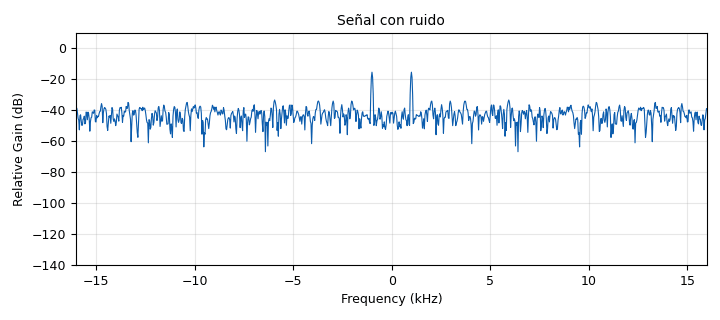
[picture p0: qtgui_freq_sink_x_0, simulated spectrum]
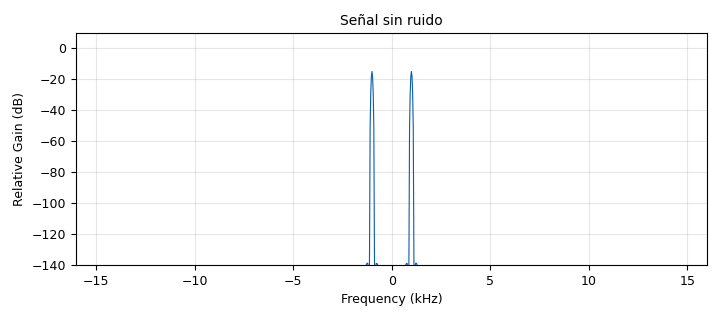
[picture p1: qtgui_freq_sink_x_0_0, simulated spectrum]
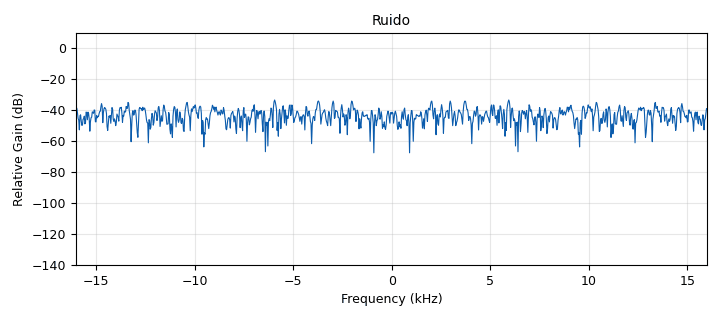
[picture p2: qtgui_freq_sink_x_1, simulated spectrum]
options:
  parameters:
    generate_options: qt_gui
    id: bloque_promedios
    output_language: python
    title: Practica_2
  states: {}

blocks:
- name: samp_rate
  id: variable
  parameters:
    value: '32000'
  states: {}
- name: Desviacion_estandar
  id: qtgui_number_sink
  parameters:
    graph_type: qtgui.NUM_GRAPH_HORIZ
    name: '"Desviacion estandar"'
    type: float
  states: {}
- name: Media
  id: qtgui_number_sink
  parameters:
    graph_type: qtgui.NUM_GRAPH_HORIZ
    name: '"Media"'
    type: float
  states: {}
- name: Media_cuadratica
  id: qtgui_number_sink
  parameters:
    graph_type: qtgui.NUM_GRAPH_HORIZ
    name: '"Media cuadratica"'
    type: float
  states: {}
- name: Potencia_promedio
  id: qtgui_number_sink
  parameters:
    graph_type: qtgui.NUM_GRAPH_HORIZ
    name: '"Potencia promedio"'
    type: float
  states: {}
- name: RMS
  id: qtgui_number_sink
  parameters:
    graph_type: qtgui.NUM_GRAPH_HORIZ
    name: '"RMS"'
    type: float
  states: {}
- name: analog_noise_source_x_0
  id: analog_noise_source_x
  parameters:
    amp: '0.5'
    noise_type: analog.GR_GAUSSIAN
    seed: '0'
    type: float
  states: {}
- name: analog_sig_source_x_0
  id: analog_sig_source_x
  parameters:
    amp: '1'
    freq: '1000'
    offset: '0'
    phase: '0'
    samp_rate: samp_rate
    type: float
    waveform: analog.GR_SIN_WAVE
  states: {}
- name: epy_block_0
  id: epy_block
  parameters:
    _source_code: "\"\"\"\nEmbedded Python Blocks:\n\nEach time this file is saved, GRC will instantiate the first class it finds\nto get ports and parameters of your block. The arguments to __init__  will\nbe the parameters. All of them are required to have default values!\n\"\"\"\n\nimport numpy as np\nfrom gnuradio import gr\n\nclass blk(gr.sync_block):\n    def __init__(self):  # only default arguments here\n        gr.sync_block.__init__(\n            self,\n            name='Promedios_de_tiempos',  # will show up in GRC\n            in_sig=[np.float32],\n            out_sig=[np.float32, np.float32, np.float32, np.float32, np.float32]\n        )\n        self.acum_anterior = 0\n        self.Ntotales = 0\n        self.acum_anterior1 = 0\n        self.acum_anterior2 = 0\n\n    def work(self, input_items, output_items):\n        x = input_items[0]  # Señal de entrada.\n        y0 = output_items[0]  # Promedio de la señal\n        y1 = output_items[1]  # Media de la señal\n        y2 = output_items[2]  # RMS de la señal\n        y3 = output_items[3]  # Potencia promedio de la señal\n        y4 = output_items[4]  # Desviación estándar de la señal\n\n        # Cálculo del promedio\n        N = len(x)\n        self.Ntotales += N\n        acumulado = self.acum_anterior + np.cumsum(x)\n        self.acum_anterior = acumulado[N - 1]\n        y0[:] = acumulado / self.Ntotales\n\n        # Cálculo de la media cuadrática\n        x2 = np.multiply(x, x)\n        acumulado1 = self.acum_anterior1 + np.cumsum(x2)\n        self.acum_anterior1 = acumulado1[N - 1]\n        y1[:] = acumulado1 / self.Ntotales\n\n        # Cálculo de la RMS\n        y2[:] = np.sqrt(y1)\n\n        # Cálculo de la potencia promedio\n        y3[:] = np.multiply(y2, y2)\n\n        # Cálculo de la desviación estándar\n        x3 = np.multiply(x - y0, x - y0)\n        acumulado2 = self.acum_anterior2 + np.cumsum(x3)\n        self.acum_anterior2 = acumulado2[N - 1]\n        y4[:] = np.sqrt(acumulado2 / self.Ntotales)\n\n        return len(x)\n\n"
  states: {}
- name: epy_block_1
  id: epy_block
  parameters:
    _source_code: "\"\"\"\nEmbedded Python Blocks:\n\nEach time this file is saved, GRC will instantiate the first class it finds\nto get ports and parameters of your block. The arguments to __init__  will\nbe the parameters. All of them are required to have default values!\n\"\"\"\nimport numpy as np\nfrom gnuradio import gr\n\nclass blk(gr.sync_block):\n    def __init__(self):\n        gr.sync_block.__init__(\n            self,\n            name='e_Acum',  # will show up in GRC\n            in_sig=[np.float32, np.float32],\n            out_sig=[np.float32]\n        )\n\n    def work(self, input_items, output_items):\n        x1 = input_items[0]  # Señal de entrada\n        x2 = input_items[1]\n        y0 = output_items[0]  # Señal acumulada\n        y0[:] = x1 + x2 \n        return len(y0)\n\n"
  states: {}
- name: qtgui_freq_sink_x_0
  id: qtgui_freq_sink_x
  parameters:
    bw: samp_rate
    fc: '0'
    fftsize: '1024'
    name: '"Señal con ruido"'
    type: float
  states: {}
- name: qtgui_freq_sink_x_0_0
  id: qtgui_freq_sink_x
  parameters:
    bw: samp_rate
    fc: '0'
    fftsize: '1024'
    name: '"Señal sin ruido"'
    type: float
  states: {}
- name: qtgui_freq_sink_x_1
  id: qtgui_freq_sink_x
  parameters:
    bw: samp_rate
    fc: '0'
    fftsize: '1024'
    name: '"Ruido"'
    type: float
  states: {}

connections:
- [analog_noise_source_x_0, '0', epy_block_1, '1']
- [analog_noise_source_x_0, '0', qtgui_freq_sink_x_1, '0']
- [analog_sig_source_x_0, '0', epy_block_1, '0']
- [analog_sig_source_x_0, '0', qtgui_freq_sink_x_0_0, '0']
- [epy_block_0, '0', Media, '0']
- [epy_block_0, '1', Media_cuadratica, '0']
- [epy_block_0, '2', RMS, '0']
- [epy_block_0, '3', Potencia_promedio, '0']
- [epy_block_0, '4', Desviacion_estandar, '0']
- [epy_block_1, '0', epy_block_0, '0']
- [epy_block_1, '0', qtgui_freq_sink_x_0, '0']

metadata:
  file_format: 1
  grc_version: 3.10.9.2
